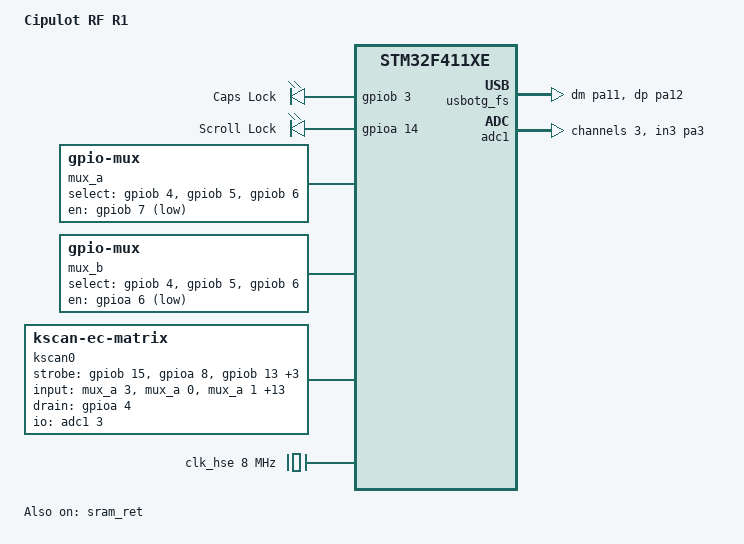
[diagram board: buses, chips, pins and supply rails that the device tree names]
#include <st/f4/stm32f411Xe.dtsi>
#include <st/f4/stm32f411c(c-e)ux-pinctrl.dtsi>

#include <zephyr/dt-bindings/dt-util.h>
#include <zephyr/dt-bindings/adc/adc.h>
#include <zephyr/dt-bindings/adc/stm32_adc.h>

#include <dt-bindings/zmk/matrix_transform.h>
#include <dt-bindings/zmk/hid_indicators.h>

#include "rf_r1-layouts.dtsi"

/ {
	model = "Cipulot RF R1";
	compatible = "cipulot,rf-r1";

	chosen {
		zephyr,sram = &sram0;
		zephyr,flash = &flash0;
		zephyr,code-partition = &code_partition;
		zephyr,settings-partition = &storage_partition;
		zephyr,boot-mode = &boot_mode;
		zmk,kscan = &kscan0;
	};

	leds {
		compatible = "gpio-leds";

		caps_lock_led: caps_lock_led {
			gpios = <&gpiob 3 GPIO_ACTIVE_HIGH>;
			label = "Caps Lock";
		};

		scroll_lock_led: scroll_lock_led {
			gpios = <&gpioa 14 GPIO_ACTIVE_HIGH>;
			label = "Scroll Lock";
		};
	};

	hid_indicators: hid_indicators {
		compatible = "zmk,indicator-leds";

		caps {
			leds = <&caps_lock_led>;
			indicator = <HID_INDICATOR_CAPS_LOCK>;
		};

		scroll {
			leds = <&scroll_lock_led>;
			indicator = <HID_INDICATOR_SCROLL_LOCK>;
		};
	};

	mux_a: mux_a {
		compatible = "zmk,gpio-mux";

		select-gpios = <&gpiob 4 GPIO_ACTIVE_HIGH>,
			       <&gpiob 5 GPIO_ACTIVE_HIGH>,
			       <&gpiob 6 GPIO_ACTIVE_HIGH>;

		en-gpios = <&gpiob 7 GPIO_ACTIVE_LOW>;

		gpio-controller;
		ngpios = <8>;
		#gpio-cells = <2>;
	};

	mux_b: mux_b {
		compatible = "zmk,gpio-mux";

		select-gpios = <&gpiob 4 GPIO_ACTIVE_HIGH>,
			       <&gpiob 5 GPIO_ACTIVE_HIGH>,
			       <&gpiob 6 GPIO_ACTIVE_HIGH>;

		en-gpios = <&gpioa 6 GPIO_ACTIVE_LOW>;

		gpio-controller;
		ngpios = <8>;
		#gpio-cells = <2>;
	};

	kscan0: kscan {
		compatible = "zmk,kscan-ec-matrix";
		status = "okay";

		pinctrl-0 = <&ec_strobe_pb15 &ec_strobe_pa8
			     &ec_strobe_pb13 &ec_strobe_pb12
			     &ec_strobe_pb14 &ec_strobe_pb0>;
		pinctrl-names = "default";

		strobe-gpios = <&gpiob 15 GPIO_ACTIVE_HIGH>,
			       <&gpioa 8 GPIO_ACTIVE_HIGH>,
			       <&gpiob 13 GPIO_ACTIVE_HIGH>,
			       <&gpiob 12 GPIO_ACTIVE_HIGH>,
			       <&gpiob 14 GPIO_ACTIVE_HIGH>,
			       <&gpiob 0 GPIO_ACTIVE_HIGH>;

		input-gpios = <&mux_a 3 0>, <&mux_a 0 0>, <&mux_a 1 0>, <&mux_a 2 0>,
			      <&mux_a 4 0>, <&mux_a 6 0>, <&mux_a 7 0>, <&mux_a 5 0>,
			      <&mux_b 3 0>, <&mux_b 0 0>, <&mux_b 1 0>, <&mux_b 2 0>,
			      <&mux_b 4 0>, <&mux_b 6 0>, <&mux_b 7 0>, <&mux_b 5 0>;

		io-channels = <&adc1 3>;
		drain-gpios = <&gpioa 4 GPIO_OPEN_DRAIN>;

		matrix-relax-us = <0>;
		adc-read-settle-us = <0>;
		trigger-percentage = <55>;
		active-polling-interval-ms = <0>;

		skip-startup-calibration;
	};
};

&clk_hse {
	clock-frequency = <DT_FREQ_M(8)>;
	status = "okay";
};

&clk_lsi {
	status = "okay";
};

&pll {
	div-m = <8>;
	mul-n = <336>;
	div-p = <4>;
	div-q = <7>;
	clocks = <&clk_hse>;
	status = "okay";
};

&rcc {
	clocks = <&pll>;
	clock-frequency = <DT_FREQ_M(84)>;
	ahb-prescaler = <1>;
	apb1-prescaler = <2>;
	apb2-prescaler = <1>;
};

zephyr_udc0: &usbotg_fs {
	pinctrl-0 = <&usb_otg_fs_dm_pa11 &usb_otg_fs_dp_pa12>;
	pinctrl-names = "default";
	status = "okay";
};

&adc1 {
	pinctrl-0 = <&adc1_in3_pa3>;
	pinctrl-names = "default";
	st,adc-clock-source = "SYNC";
	st,adc-prescaler = <2>;
	status = "okay";

	#address-cells = <1>;
	#size-cells = <0>;

	channel@3 {
		reg = <3>;
		zephyr,gain = "ADC_GAIN_1";
		zephyr,reference = "ADC_REF_INTERNAL";
		zephyr,acquisition-time = <ADC_ACQ_TIME_DEFAULT>;
		zephyr,resolution = <10>;
	};
};

&pinctrl {
	ec_strobe_pa8: ec_strobe_pa8 {
		pinmux = <STM32_PINMUX('A', 8, GPIO)>;
		slew-rate = "very-high-speed";
	};

	ec_strobe_pb0: ec_strobe_pb0 {
		pinmux = <STM32_PINMUX('B', 0, GPIO)>;
		slew-rate = "very-high-speed";
	};

	ec_strobe_pb12: ec_strobe_pb12 {
		pinmux = <STM32_PINMUX('B', 12, GPIO)>;
		slew-rate = "very-high-speed";
	};

	ec_strobe_pb13: ec_strobe_pb13 {
		pinmux = <STM32_PINMUX('B', 13, GPIO)>;
		slew-rate = "very-high-speed";
	};

	ec_strobe_pb14: ec_strobe_pb14 {
		pinmux = <STM32_PINMUX('B', 14, GPIO)>;
		slew-rate = "very-high-speed";
	};

	ec_strobe_pb15: ec_strobe_pb15 {
		pinmux = <STM32_PINMUX('B', 15, GPIO)>;
		slew-rate = "very-high-speed";
	};
};

&sram0 {
	reg = <0x20000000 0x1fffc>;
};

/ {
	sram_ret: sram@2001fffc {
		compatible = "zephyr,memory-region", "mmio-sram";
		reg = <0x2001fffc 0x4>;
		zephyr,memory-region = "RetainedMem";
		status = "okay";

		retainedmem {
			compatible = "zephyr,retained-ram";
			status = "okay";
			#address-cells = <1>;
			#size-cells = <1>;

			boot_mode: retention@0 {
				compatible = "zephyr,retention";
				status = "okay";
				reg = <0x0 0x1>;
			};
		};
	};
};

&gpioc {
	status = "disabled";
};

&gpiod {
	status = "disabled";
};

&gpioe {
	status = "disabled";
};

&gpiof {
	status = "disabled";
};

&gpiog {
	status = "disabled";
};

&gpioh {
	status = "disabled";
};

&flash0 {
	partitions {
		compatible = "fixed-partitions";
		#address-cells = <1>;
		#size-cells = <1>;

		code_partition: partition@0 {
			label = "code";
			reg = <0x00000000 DT_SIZE_K(256)>;
		};

		storage_partition: partition@40000 {
			label = "storage";
			reg = <0x00040000 DT_SIZE_K(256)>;
		};
	};
};
